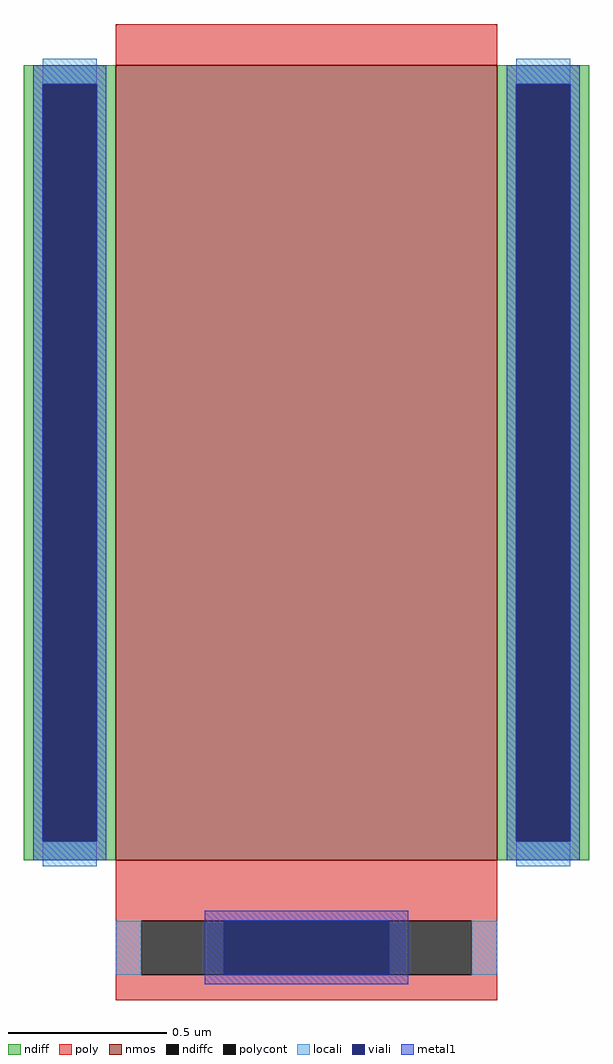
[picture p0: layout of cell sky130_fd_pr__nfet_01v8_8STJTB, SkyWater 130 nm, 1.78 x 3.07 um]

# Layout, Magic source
magic
tech sky130A
magscale 1 2
<< nmos >>
rect -120 -219 120 281
<< ndiff >>
rect -178 269 -120 281
rect -178 -207 -166 269
rect -132 -207 -120 269
rect -178 -219 -120 -207
rect 120 269 178 281
rect 120 -207 132 269
rect 166 -207 178 269
rect 120 -219 178 -207
<< ndiffc >>
rect -166 -207 -132 269
rect 132 -207 166 269
<< poly >>
rect -120 281 120 307
rect -120 -257 120 -219
rect -120 -291 -104 -257
rect 104 -291 120 -257
rect -120 -307 120 -291
<< polycont >>
rect -104 -291 104 -257
<< locali >>
rect -166 269 -132 285
rect -166 -223 -132 -207
rect 132 269 166 285
rect 132 -223 166 -207
rect -120 -291 -104 -257
rect 104 -291 120 -257
<< viali >>
rect -166 -207 -132 269
rect 132 -207 166 269
rect -52 -291 52 -257
<< metal1 >>
rect -172 269 -126 281
rect -172 -207 -166 269
rect -132 -207 -126 269
rect -172 -219 -126 -207
rect 126 269 172 281
rect 126 -207 132 269
rect 166 -207 172 269
rect 126 -219 172 -207
rect -64 -257 64 -251
rect -64 -291 -52 -257
rect 52 -291 64 -257
rect -64 -297 64 -291
<< properties >>
string gencell sky130_fd_pr__nfet_01v8
string library sky130
string parameters w 2.5 l 1.2 m 1 nf 1 diffcov 100 polycov 100 guard 0 glc 1 grc 1 gtc 1 gbc 1 tbcov 100 rlcov 100 topc 0 botc 1 poverlap 0 doverlap 1 lmin 0.15 wmin 0.42 compatible {sky130_fd_pr__nfet_01v8 sky130_fd_pr__nfet_01v8_lvt  sky130_fd_bs_flash__special_sonosfet_star  sky130_fd_pr__nfet_g5v0d10v5 sky130_fd_pr__nfet_05v0_nvt  sky130_fd_pr__nfet_03v3_nvt} full_metal 1 viasrc 100 viadrn 100 viagate 50 viagb 0 viagr 0 viagl 0 viagt 0
<< end >>
